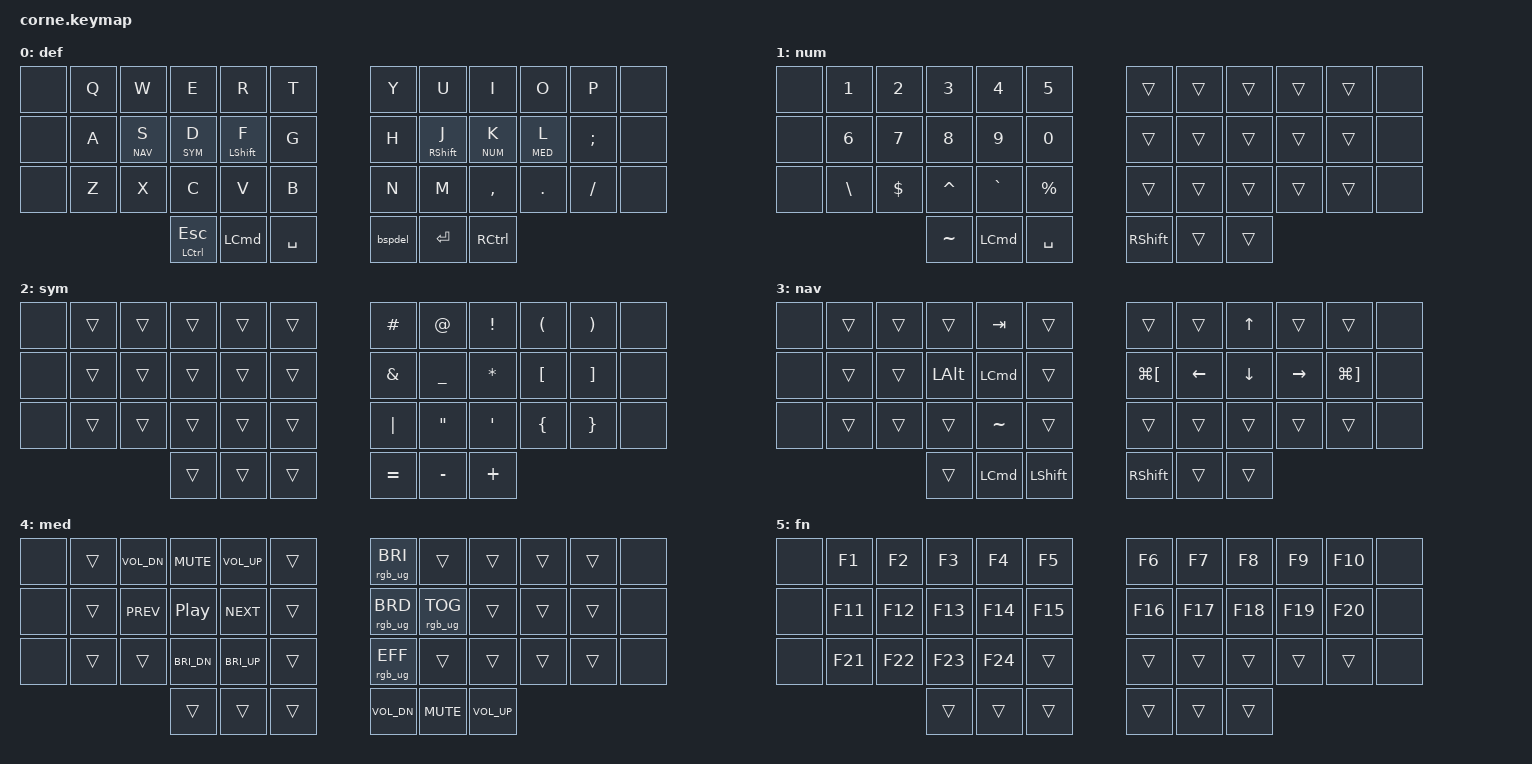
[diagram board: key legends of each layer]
#include <behaviors.dtsi>
#include <dt-bindings/zmk/keys.h>
#include <dt-bindings/zmk/bt.h>
#include <dt-bindings/zmk/rgb.h>

&led_strip {
    chain-length = <24>;
};

#define DEFAULT    0
#define NUM        1
#define SYM        2
#define NAV        3
#define MED        4
#define FUNC       5

&caps_word {
  continue-list = <UNDERSCORE MINUS>;
};


/ {
  combos {
    compatible = "zmk,combos";
    // combo_shift_left {
    //   timeout-ms = <50>;
    //   key-positions = <15 16>;
    //   bindings = <&kp LSHIFT>;
    //   layers = <DEFAULT>;
    // };
    // combo_shift_right {
    //   timeout-ms = <50>;
    //   key-positions = <19 20>;
    //   bindings = <&kp RSHIFT>;
    //   layers = <DEFAULT>;
    // };
    // combo_sym_left {
    //   timeout-ms = <50>;
    //   key-positions = <27 28>;
    //   bindings = <&mo SYM>;
    // };
    // combo_sym_right {
    //   timeout-ms = <50>;
    //   key-positions = <31 32>;
    //   bindings = <&mo SYM>;
    // };
    // combo_num_left {
    //   timeout-ms = <75>;
    //   key-positions = <14 15>;
    //   bindings = <&mo NUM>;
    //   layers = <DEFAULT>;
    // };
    // combo_num_right {
    //   timeout-ms = <75>;
    //   key-positions = <20 21>;
    //   bindings = <&mo NUM>;
    //   layers = <DEFAULT>;
    // };
    // combo_nav {
    //   timeout-ms = <50>;
    //   key-positions = <13 14>;
    //   bindings = <&mo NAV>;
    //   layers = <DEFAULT>;
    // };
    // combo_media {
    //   timeout-ms = <50>;
    //   key-positions = <21 22>;
    //   bindings = <&mo MEDIA>;
    //   layers = <DEFAULT>;
    // };
    // combo_ctrl_left {
    //   timeout-ms = <50>;
    //   key-positions = <16 36>;
    //   bindings = <&kp LCTRL>;
    // };
    // combo_ctrl_right {
    //   timeout-ms = <50>;
    //   key-positions = <19 41>;
    //   bindings = <&kp RCTRL>;
    // };
    // combo_alt_left {
    //   timeout-ms = <50>;
    //   key-positions = <16 37>;
    //   bindings = <&kp LALT>;
    // };
    // combo_alt_right {
    //   timeout-ms = <50>;
    //   key-positions = <19 40>;
    //   bindings = <&kp RALT>;
    // };
    // combo_cmd_left {
    //   timeout-ms = <50>;
    //   key-positions = <16 38>;
    //   bindings = <&kp LCMD>;
    // };
    // combo_cmd_right {
    //   timeout-ms = <50>;
    //   key-positions = <19 39>;
    //   bindings = <&kp RCMD>;
    // };
    // combo_del {
    //   timeout-ms = <100>;
    //   key-positions = <19 20 39>;
    //   bindings = <&kp DEL>;
    //   layers = <DEFAULT>;
    // };
  };
  behaviors {
    hm: homerow_mods {
      compatible = "zmk,behavior-hold-tap"; // https://zmk.dev/docs/keymaps/behaviors/hold-tap
      label = "HOMEROW_MODS";
      #binding-cells = <2>;
      tapping-term-ms = <200>;
      quick_tap_ms = <200>;    // if double tapped, long-tabs the key instead of hold
      flavor = "balanced";
      bindings = <&kp>, <&kp>;
    };
    hml: home_row_mod_left {
        compatible = "zmk,behavior-hold-tap";
        #binding-cells = <2>;
        flavor = "balanced";
        require-prior-idle-ms = <50>;
        tapping-term-ms = <150>;
        quick-tap-ms = <175>;
        bindings = <&kp>, <&kp>;
        hold-trigger-key-positions = <6 7 8 9 10 18 19 20 21 22 30 31 32 33 34 39 40 41>; // List of keys on the right side of the keyboard
        hold-trigger-on-release;
    };
    hmlm: home_row_mod_left_mo {
        compatible = "zmk,behavior-hold-tap";
        #binding-cells = <2>;
        flavor = "balanced";
        require-prior-idle-ms = <150>;
        tapping-term-ms = <280>;
        quick-tap-ms = <175>;
        bindings = <&mo>, <&kp>;
        hold-trigger-key-positions = <6 7 8 9 10 18 19 20 21 22 30 31 32 33 34 39 40 41>; // List of keys on the right side of the keyboard
        hold-trigger-on-release;
    };
    hmr: home_row_mod_right {
        compatible = "zmk,behavior-hold-tap";
        #binding-cells = <2>;
        flavor = "balanced";
        require-prior-idle-ms = <50>;
        tapping-term-ms = <150>;
        quick-tap-ms = <175>;
        bindings = <&kp>, <&kp>;
        hold-trigger-key-positions = <1 2 3 4 5 13 14 15 16 17 25 26 27 28 29 36 37 38>; // List of keys on the left side of the keyboard
        hold-trigger-on-release;
    };
    hmrm: home_row_mod_right_mo {
        compatible = "zmk,behavior-hold-tap";
        #binding-cells = <2>;
        flavor = "balanced";
        require-prior-idle-ms = <150>;
        tapping-term-ms = <280>;
        quick-tap-ms = <175>;
        bindings = <&mo>, <&kp>;
        hold-trigger-key-positions = <1 2 3 4 5 13 14 15 16 17 25 26 27 28 29 36 37 38>; // List of keys on the left side of the keyboard
        hold-trigger-on-release;
    };
    grave_esc: grave_escape {
      compatible = "zmk,behavior-mod-morph";
      #binding-cells = <0>;
      bindings = <&hm LCTRL ESC>, <&kp GRAVE>;
      mods = <(MOD_LGUI|MOD_RGUI)>;
      keep-mods = <(MOD_LGUI|MOD_RGUI)>;
    };
    bspdel: backspace_delete {
      compatible = "zmk,behavior-mod-morph";
      #binding-cells = <0>;
      bindings = <&kp BSPC>, <&kp DEL>;
      mods = <(MOD_LSFT|MOD_RSFT)>;
    };
  };
  keymap {
    compatible = "zmk,keymap";
    default_layer {
        label = "Default";
        display-name = "def";
        bindings = <
            &none &kp Q     &kp W         &kp E           &kp R           &kp T            &kp Y    &kp U           &kp I         &kp O         &kp P              &none
            &none &kp A     &hmlm NAV S   &hmlm SYM D     &hml LSHIFT F   &kp G            &kp H    &hmr RSHIFT J   &hmrm NUM K   &hmrm MED L   &kp SEMICOLON      &none
            &none &kp Z     &kp X         &kp C           &kp V           &kp B            &kp N    &kp M           &kp COMMA     &kp DOT       &kp SLASH          &none
                                          &hm LCTRL ESC   &kp LCMD        &kp SPACE        &bspdel  &kp ENTER       &kp RCTRL
        >;
    };
    num_layer {
        label = "Numbers";
        display-name = "num";
        bindings = <
            &none &kp N1    &kp N2      &kp N3      &kp N4      &kp N5          &trans      &trans      &trans    &trans    &trans    &none
            &none &kp N6    &kp N7      &kp N8      &kp N9      &kp N0          &trans      &trans      &trans    &trans    &trans    &none
            &none &kp BSLH  &kp DOLLAR  &kp CARET   &kp GRAVE   &kp PERCENT     &trans      &trans      &trans    &trans    &trans    &none
                                        &kp TILDE   &kp LCMD    &kp SPACE      &kp RSHIFT  &trans      &trans

                                        
        >;
    }; 
    sym_layer {
        label = "Symbols";
        display-name = "sym";
        bindings = <
            &none &trans    &trans  &trans      &trans      &trans                &kp HASH        &kp AT          &kp EXCL      &kp LPAR      &kp RPAR      &none
            &none &trans    &trans  &trans      &trans      &trans                &kp AMPERSAND   &kp UNDERSCORE  &kp ASTERISK  &kp LBKT      &kp RBKT      &none
            &none &trans    &trans  &trans      &trans      &trans                &kp PIPE        &kp DQT         &kp SQT       &kp LBRC      &kp RBRC      &none
                                    &trans      &trans      &trans                &kp EQUAL       &kp MINUS       &kp PLUS    
        >;
    };
    nav_layer {
        label = "Nav";
        display-name = "nav";
        bindings = <
            &none &trans    &trans     &trans       &kp TAB     &trans             &trans         &trans      &kp UP     &trans     &trans        &none
            &none &trans    &trans     &kp LALT     &kp LCMD    &trans             &kp LG(LBKT)   &kp LEFT    &kp DOWN   &kp RIGHT  &kp LG(RBKT)  &none
            &none &trans     &trans    &trans       &kp TILDE   &trans             &trans         &trans      &trans     &trans     &trans        &none
                                       &trans       &kp LCMD    &kp LSHIFT         &kp RSHIFT     &trans      &trans
        >;
    };
    // nav2_layer {
    //     label = "Nav2";
    //     display-name = "nav2";
    //     bindings = <
    //         &none &trans  &trans    &trans  &trans                 &trans                 &trans                &kp HOME           &kp PG_UP           &kp END            &trans   &none
    //         &none &trans  &trans    &trans  &trans                 &trans                 &kp LG(LBKT)          &kp LA(LEFT)       &kp PG_DN           &kp LA(RIGHT)      &kp LG(RBKT)   &none
    //         &none &trans  &trans    &trans  &trans                 &trans                 &trans                &kp LC(LG(LA(U)))  &trans              &kp LC(LG(LA(I)))  &trans   &none
    //                                             &trans  &hm LALT LS(LC(TAB))  &hm LCMD LC(TAB)     &hm RCMD LS(LC(TAB))  &hm RALT LC(TAB)   &hm RCTRL LG(GRAVE)
    //     >;
    // };
    media_layer {
        label = "Media";
        display-name = "med";
        bindings = <
            &none &trans  &kp C_VOL_DN  &kp C_MUTE        &kp C_VOL_UP      &trans              &rgb_ug RGB_BRI   &trans            &trans        &trans &trans &none
            &none &trans  &kp C_PREV    &kp C_PLAY_PAUSE  &kp C_NEXT        &trans              &rgb_ug RGB_BRD   &rgb_ug RGB_TOG   &trans        &trans &trans &none
            &none &trans  &trans        &kp C_BRI_DN      &kp C_BRI_UP      &trans              &rgb_ug RGB_EFF   &trans            &trans        &trans &trans &none
                                        &trans            &trans            &trans              &kp C_VOL_DN      &kp C_MUTE        &kp C_VOL_UP
        >;
    };
    func_layer {
        label = "Func";
        display-name = "fn";
        bindings = <
            &none &kp F1   &kp F2   &kp F3  &kp F4  &kp F5     &kp F6   &kp F7   &kp F8  &kp F9  &kp F10  &none
            &none &kp F11  &kp F12  &kp F13 &kp F14 &kp F15    &kp F16  &kp F17  &kp F18 &kp F19 &kp F20  &none
            &none &kp F21  &kp F22  &kp F23 &kp F24 &trans     &trans   &trans   &trans  &trans  &trans   &none
                                                &trans  &trans  &trans     &trans  &trans  &trans
            >;
    };
  };
};
